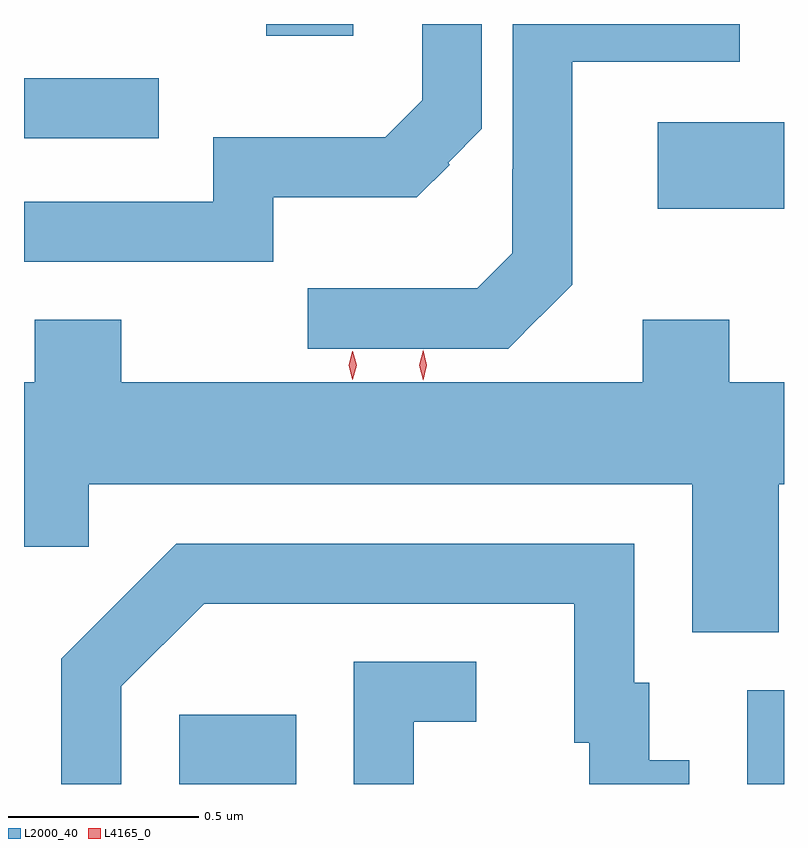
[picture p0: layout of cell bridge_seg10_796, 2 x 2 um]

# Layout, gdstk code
import gdstk
lib = gdstk.Library(unit=1e-6, precision=1e-09)
def R(c, l, rs):  # rectangles x0, y0, x1, y1
    for r in rs: c.add(gdstk.rectangle(r[:2], r[2:], *l))
def P(c, l, *ps):  # polygons
    for p in ps: c.add(gdstk.Polygon(p, *l))
L2000_40 = (2000, 40)
L4165_0 = (4165, 0)

bridge_seg10_796 = lib.new_cell('bridge_seg10_796')
R(bridge_seg10_796, L2000_40, [(602.301,2190.827,602.609,2191.009), (603.796,2190.827,603.893,2191.074), (603.561,2192.341,603.893,2192.569), (601.893,2192.526,602.248,2192.684), (602.531,2192.796,602.759,2192.827)])
P(bridge_seg10_796, L2000_40, [(602.549,2192.371),(602.927,2192.371),(603.013,2192.457),(603.009,2192.462),(603.098,2192.551),(603.098,2192.827),(602.941,2192.827),(602.941,2192.627),(602.844,2192.529),(602.391,2192.529),(602.391,2192.359),(601.893,2192.359),(601.893,2192.201),(602.549,2192.201)],
  [(603.252,2192.058),(603.252,2192.057),(603.336,2192.141),(603.336,2192.728),(603.776,2192.728),(603.776,2192.827),(603.179,2192.827),(603.179,2192.445),(603.178,2192.445),(603.178,2192.224),(603.086,2192.131),(602.64,2192.131),(602.64,2191.973),(603.167,2191.973)],
  [(603.879,2191.616),(603.893,2191.616),(603.893,2191.884),(603.749,2191.884),(603.749,2192.049),(603.521,2192.049),(603.521,2191.884),(602.149,2191.884),(602.149,2192.049),(601.921,2192.049),(601.921,2191.884),(601.893,2191.884),(601.893,2191.451),(602.064,2191.451),(602.064,2191.616),(603.651,2191.616),(603.651,2191.226),(603.879,2191.226)],
  [(602.149,2191.084),(602.367,2191.301),(603.341,2191.301),(603.341,2190.936),(603.381,2190.936),(603.381,2190.827),(603.644,2190.827),(603.644,2190.889),(603.539,2190.889),(603.539,2191.094),(603.499,2191.094),(603.499,2191.459),(602.294,2191.459),(601.991,2191.157),(601.991,2190.827),(602.149,2190.827)],
  [(602.919,2190.991),(603.083,2190.991),(603.083,2191.149),(602.761,2191.149),(602.761,2190.827),(602.919,2190.827)])
P(bridge_seg10_796, L4165_0, [(602.943,2191.889),(602.943,2191.89),(602.933,2191.929),(602.943,2191.969),(602.943,2191.969),(602.944,2191.969),(602.953,2191.929),(602.944,2191.89)],
  [(602.758,2191.891),(602.757,2191.892),(602.748,2191.929),(602.757,2191.966),(602.758,2191.966),(602.758,2191.966),(602.768,2191.929),(602.758,2191.892)])

lib.write_gds('bridge_seg10_796.gds')
